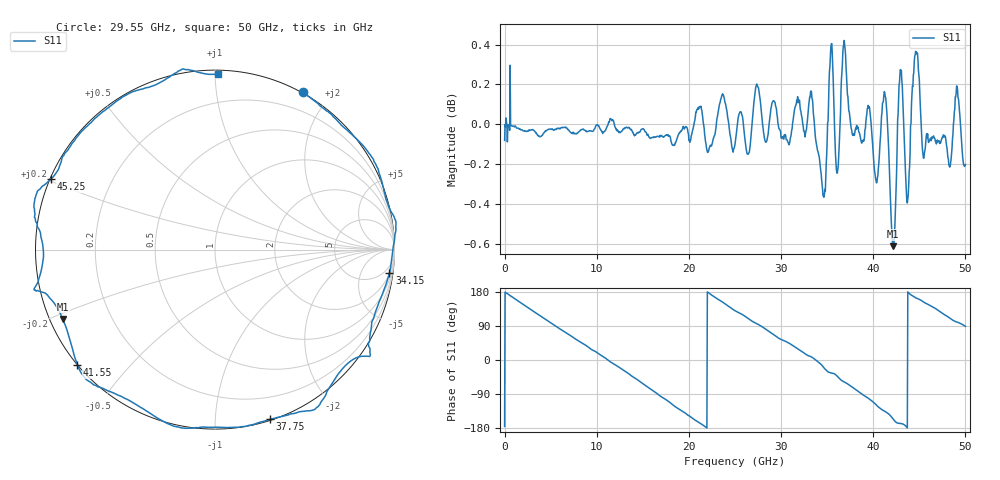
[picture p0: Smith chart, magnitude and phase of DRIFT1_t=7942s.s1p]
!Created with skrf (http://scikit-rf.org).
# Hz S RI R 50.0
!freq ReS11 ImS11
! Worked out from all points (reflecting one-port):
!   1001 points, 300 kHz to 50 GHz, reference 50 ohm
!   lowest |S11| = -0.6 dB at 42.15 GHz (marker M1), VSWR 28.44, Z = 1.84 - j10.9 ohm
!   phase of S11 starts at -175 deg and turns -816 deg over the sweep
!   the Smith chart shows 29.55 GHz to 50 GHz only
!   S11 on the Smith chart (normalised r, x): 29.55 GHz: -0.01, +1.70; 34.15 GHz: 2, -15; 37.75 GHz: 0.01, -1.38; 41.55 GHz: 0.00, -0.36; 45.25 GHz: 0.00, +0.21; 50 GHz: 0.02, +1.02
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300000  -0.9875 -0.0805
1.500291e9  -0.9057 0.4184
3.30028e9  -0.5807 0.809
6.250262e9  0.2021 0.9776
9.500243e9  0.8912 0.4446
1.250022e10  0.9322 -0.3484
1.580021e10  0.2391 -0.9626
1.73502e10  -0.2104 -0.9706
1.875019e10  -0.5966 -0.7933
2.150017e10  -0.9927 -0.1491
2.350016e10  -0.9218 0.4252
2.500015e10  -0.6357 0.7569
2.735014e10  -0.1057 1.018
2.955012e10  0.4881 0.8794
3.125011e10  0.7842 0.6215
3.30501e10  0.9966 0.1847
3.41501e10  0.9722 -0.1311
3.520009e10  0.8633 -0.551
3.750008e10  0.3788 -0.9283
3.775007e10  0.307 -0.9453
3.955006e10  -0.217 -0.9867
4.155005e10  -0.7664 -0.6418
4.215005e10  -0.8479 -0.3871
4.290004e10  -1.005 -0.2227
4.375004e10  -0.9576 0.00401
4.525003e10  -0.9125 0.3946
4.770001e10  -0.4954 0.8603
5e10  0.0184 0.9769
